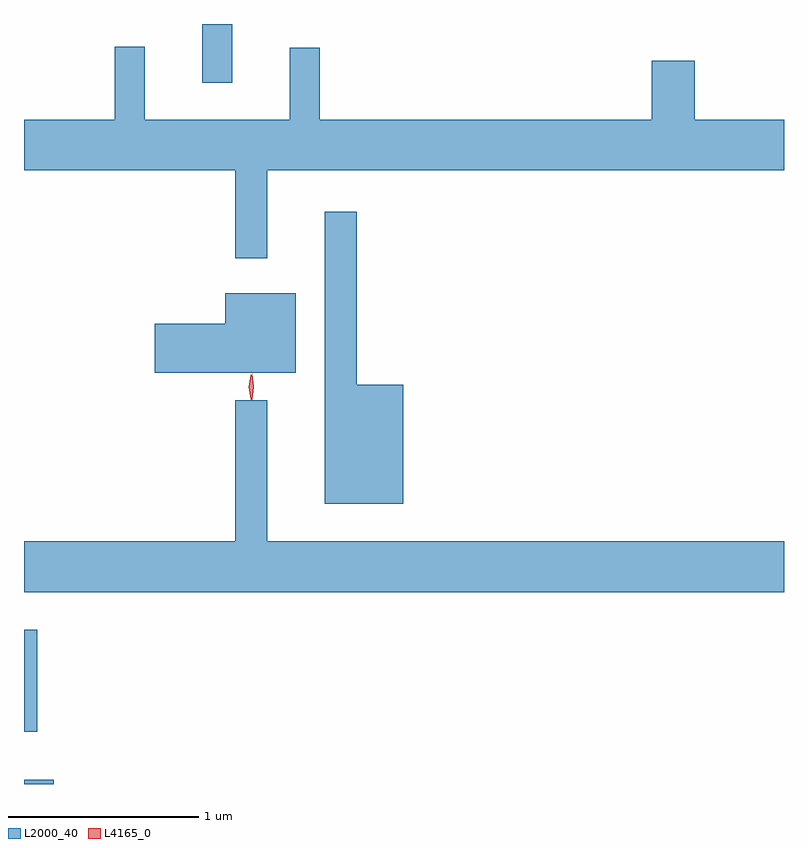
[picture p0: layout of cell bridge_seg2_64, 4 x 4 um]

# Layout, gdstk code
import gdstk
lib = gdstk.Library(unit=1e-6, precision=1e-09)
def R(c, l, rs):  # rectangles x0, y0, x1, y1
    for r in rs: c.add(gdstk.rectangle(r[:2], r[2:], *l))
def P(c, l, *ps):  # polygons
    for p in ps: c.add(gdstk.Polygon(p, *l))
L2000_40 = (2000, 40)
L4165_0 = (4165, 0)

bridge_seg2_64 = lib.new_cell('bridge_seg2_64')
R(bridge_seg2_64, L2000_40, [(1122.958,1100.587,1123.114,1100.609), (1122.958,1100.861,1123.029,1101.399), (1123.896,1104.278,1124.054,1104.587)])
P(bridge_seg2_64, L2000_40, [(1126.958,1104.084),(1126.489,1104.084),(1126.489,1104.394),(1126.261,1104.394),(1126.261,1104.084),(1124.514,1104.084),(1124.514,1104.463),(1124.356,1104.463),(1124.356,1104.084),(1123.594,1104.084),(1123.594,1104.468),(1123.436,1104.468),(1123.436,1104.084),(1122.958,1104.084),(1122.958,1103.816),(1124.071,1103.816),(1124.071,1103.353),(1124.239,1103.353),(1124.239,1103.816),(1126.958,1103.816)],
  [(1124.954,1102.689),(1124.709,1102.689),(1124.709,1103.598),(1124.541,1103.598),(1124.541,1102.061),(1124.954,1102.061)],
  [(1124.389,1103.169),(1124.016,1103.169),(1124.016,1103.009),(1123.646,1103.009),(1123.646,1102.751),(1124.389,1102.751)],
  [(1126.958,1101.864),(1124.239,1101.864),(1124.239,1102.608),(1124.071,1102.608),(1124.071,1101.864),(1122.958,1101.864),(1122.958,1101.596),(1126.958,1101.596)])
P(bridge_seg2_64, L4165_0, [(1124.152,1102.613),(1124.152,1102.613),(1124.142,1102.676),(1124.152,1102.74),(1124.152,1102.74),(1124.153,1102.74),(1124.162,1102.676),(1124.153,1102.613)],
  [(1124.156,1102.61),(1124.148,1102.678),(1124.158,1102.745),(1124.158,1102.746),(1124.159,1102.745),(1124.168,1102.678),(1124.158,1102.61),(1124.157,1102.61)])

lib.write_gds('bridge_seg2_64.gds')
